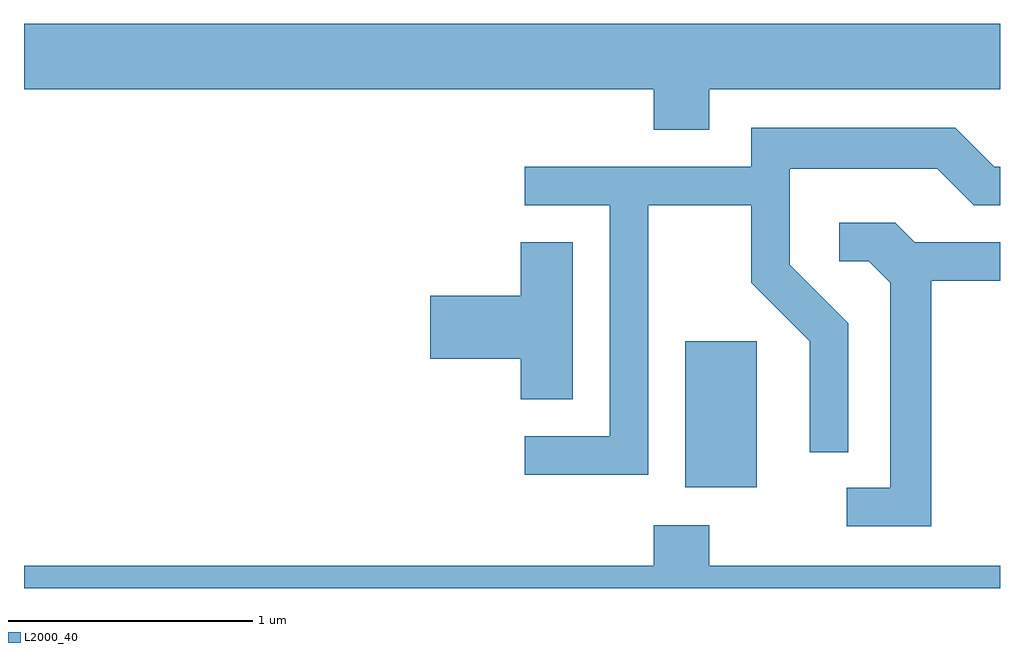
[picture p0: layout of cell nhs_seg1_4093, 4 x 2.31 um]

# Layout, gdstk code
import gdstk
lib = gdstk.Library(unit=1e-6, precision=1e-09)
def R(c, l, rs):  # rectangles x0, y0, x1, y1
    for r in rs: c.add(gdstk.rectangle(r[:2], r[2:], *l))
def P(c, l, *ps):  # polygons
    for p in ps: c.add(gdstk.Polygon(p, *l))
L2000_40 = (2000, 40)

nhs_seg1_4093 = lib.new_cell('nhs_seg1_4093')
R(nhs_seg1_4093, L2000_40, [(310.321,940.126,310.614,940.724)])
P(nhs_seg1_4093, L2000_40, [(310.419,941.756),(311.611,941.756),(311.611,942.024),(307.611,942.024),(307.611,941.756),(310.191,941.756),(310.191,941.591),(310.419,941.591)],
  [(310.169,941.281),(310.591,941.281),(310.591,940.964),(310.831,940.724),(310.831,940.268),(310.989,940.268),(310.989,940.797),(310.749,941.037),(310.749,941.431),(311.354,941.431),(311.504,941.281),(311.611,941.281),(311.611,941.439),(311.587,941.439),(311.427,941.599),(310.591,941.599),(310.591,941.439),(309.663,941.439),(309.663,941.281),(310.011,941.281),(310.011,940.334),(309.663,940.334),(309.663,940.176),(310.169,940.176)],
  [(311.329,940.971),(311.611,940.971),(311.611,941.129),(311.262,941.129),(311.182,941.209),(310.953,941.209),(310.953,941.051),(311.074,941.051),(311.161,940.964),(311.161,940.124),(310.983,940.124),(310.983,939.966),(311.329,939.966)],
  [(309.859,941.129),(309.646,941.129),(309.646,940.909),(309.276,940.909),(309.276,940.651),(309.646,940.651),(309.646,940.486),(309.859,940.486)],
  [(311.611,939.804),(310.419,939.804),(310.419,939.969),(310.191,939.969),(310.191,939.804),(307.611,939.804),(307.611,939.712),(311.611,939.712)])

lib.write_gds('nhs_seg1_4093.gds')
